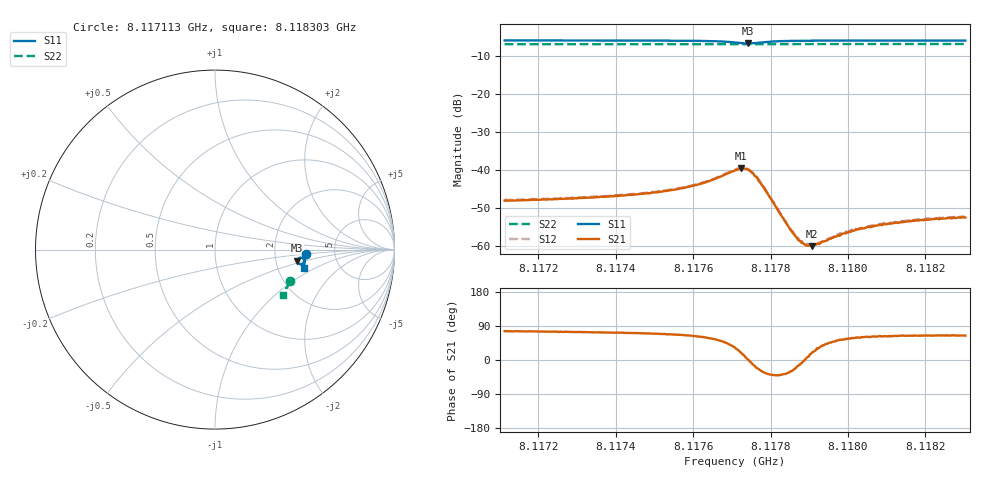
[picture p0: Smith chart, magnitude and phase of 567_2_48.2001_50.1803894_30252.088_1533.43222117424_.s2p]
#  HZ  S  RI  R  50.00
! Rohde & Schwarz Vector Network Analyzer
! Rohde-Schwarz,ZNB20-2Port,1311601062101988,3.16
! Created: UTC 3/20/2024, 12:01:32 PM
! freq[Hz]  re:S11  im:S11  re:S21  im:S21  re:S12  im:S12  re:S22  im:S22
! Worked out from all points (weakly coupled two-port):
!   401 points, 8.117113 GHz to 8.118303 GHz, reference 50 ohm
!   highest |S21| = -39.66 dB at 8.117723 GHz (marker M1); lowest = -60.1 dB at 8.117908 GHz (marker M2)
!   lowest |S11| = -6.7 dB at 8.117741 GHz (marker M3), VSWR 2.72, Z = 132 - j20.7 ohm
!   |S11| at or under -10 dB: nowhere
!   |S22| runs from -6.9 to -6.8 dB; largest |S21 - S12| = 0.00039
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8.1171129e9  0.5061 -0.0242  0.000938 0.00381  0.000987 0.00389  0.4159 -0.176
8.1173123e9  0.5044 -0.0405  0.00117 0.0041  0.00125 0.00413  0.4109 -0.189
8.1174284e9  0.5029 -0.0506  0.0015 0.00438  0.00156 0.00444  0.4076 -0.1963
8.1175117e9  0.5011 -0.0588  0.00184 0.00478  0.00193 0.00487  0.4054 -0.2018
8.1175712e9  0.4986 -0.0657  0.00232 0.00525  0.00246 0.00526  0.4033 -0.2058
8.1176248e9  0.4944 -0.073  0.00328 0.00581  0.00338 0.0059  0.4017 -0.2093
8.1177081e9  0.47 -0.0805  0.00829 0.00528  0.00855 0.00534  0.398 -0.2144
8.117723e9  0.4623 -0.0747  0.00978 0.00355  0.00998 0.00349  0.3974 -0.2148
8.1177409e9  0.4586 -0.0614  0.01 0.00032  0.0103 0.000419  0.3967 -0.2153
8.1177557e9  0.4634 -0.0505  0.00865 -0.00198  0.00876 -0.00205  0.3968 -0.2157
8.1177706e9  0.4723 -0.0452  0.00634 -0.00292  0.0066 -0.00321  0.3967 -0.2164
8.117848e9  0.4959 -0.0572  0.00145 -0.000945  0.00148 -0.000932  0.3954 -0.2218
8.1178688e9  0.4974 -0.0611  0.0012 -0.000361  0.00127 -0.000404  0.3947 -0.2233
8.1178867e9  0.498 -0.0638  0.00105 -3.21e-05  0.00111 5.17e-06  0.3941 -0.2244
8.1178956e9  0.4984 -0.0653  0.000994 0.000142  0.00105 0.000145  0.3938 -0.2251
8.1179075e9  0.4987 -0.0669  0.000925 0.000337  0.000999 0.000306  0.3934 -0.2258
8.1179194e9  0.4987 -0.0686  0.0009 0.000535  0.000924 0.000511  0.3931 -0.2267
8.1179908e9  0.4987 -0.0769  0.000849 0.00118  0.00087 0.00122  0.3907 -0.2312
8.1180266e9  0.4986 -0.0805  0.000848 0.00141  0.000875 0.00138  0.3895 -0.2335
8.1181069e9  0.4975 -0.0881  0.000863 0.00175  0.000956 0.00177  0.3867 -0.2383
8.1182259e9  0.4959 -0.0979  0.000986 0.00207  0.000976 0.00208  0.3826 -0.2457
8.1183033e9  0.4947 -0.1041  0.00101 0.00212  0.00103 0.0022  0.3798 -0.2504
